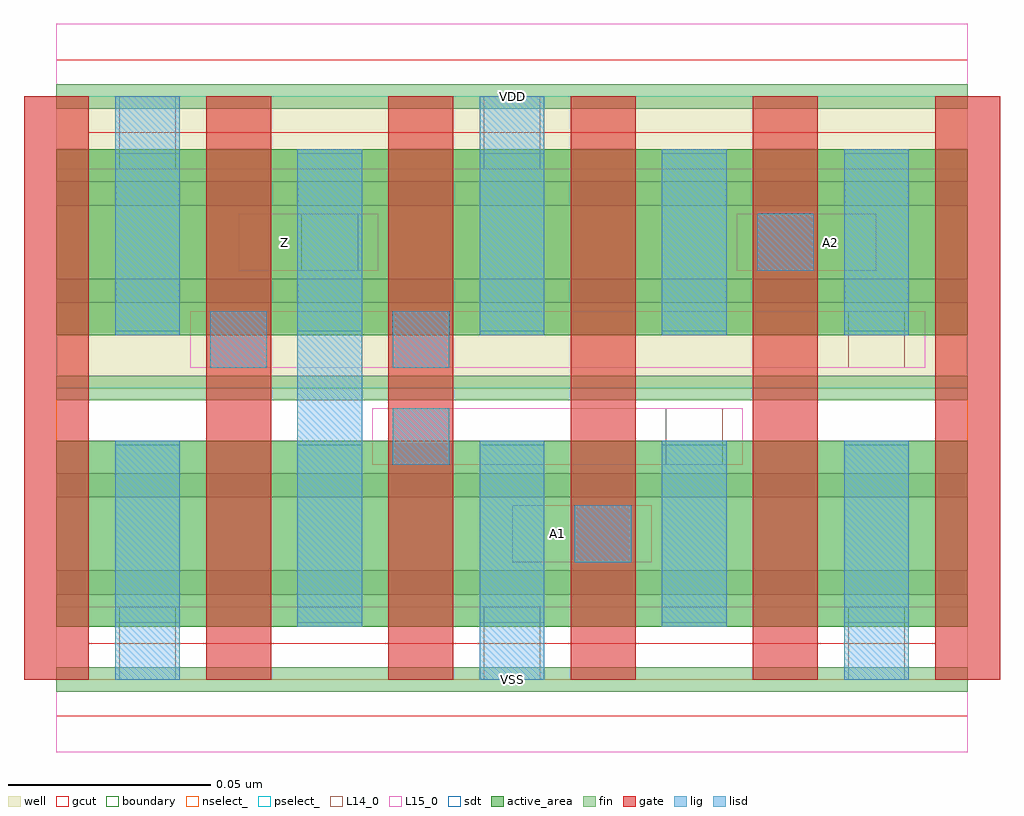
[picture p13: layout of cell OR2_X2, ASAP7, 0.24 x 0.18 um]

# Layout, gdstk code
import gdstk
lib = gdstk.Library(unit=1e-6, precision=2.5e-10)
def R(c, l, rs):  # rectangles x0, y0, x1, y1
    for r in rs: c.add(gdstk.rectangle(r[:2], r[2:], *l))
def A(c, l, x, y, w, h, nx, ny, dx, dy):  # array of equal rectangles
    R(c, l, [(x+i*dx, y+j*dy, x+i*dx+w, y+j*dy+h) for i in range(nx) for j in range(ny)])
def P(c, l, *ps):  # polygons
    for p in ps: c.add(gdstk.Polygon(p, *l))
well = (1, 0)
fin = (2, 0)
gate = (7, 0)
gcut = (10, 0)
active_area = (11, 0)
nselect_ = (12, 0)
pselect_ = (13, 0)
L14_0 = (14, 0)
L15_0 = (15, 0)
lig = (16, 0)
lisd = (17, 0)
sdt = (88, 0)
boundary = (100, 0)

or2_x2 = lib.new_cell('OR2_X2')
R(or2_x2, well, [(0,0.072,0.225,0.144)])
A(or2_x2, fin, 0, -0.003, 0.225, 0.006, 1, 7, 0, 0.024)
A(or2_x2, gate, -0.008, 0, 0.016, 0.144, 6, 1, 0.045, 0)
P(or2_x2, gcut, [(0,-0.009),(0,0),(-0.008,0),(-0.008,0.135),(0.008,0.135),(0.008,0.009),(0.217,0.009),(0.217,0.135),(-0.008,0.135),(-0.008,0.144),(0,0.144),(0,0.153),(0.225,0.153),(0.225,0.144),(0.233,0.144),(0.233,0),(0.225,0),(0.225,-0.009)])
R(or2_x2, active_area, [(0,0.013,0.225,0.059), (0,0.085,0.225,0.131)])
R(or2_x2, nselect_, [(0,0,0.225,0.072)])
R(or2_x2, pselect_, [(0,0.072,0.225,0.144)])
A(or2_x2, L14_0, 0.0155, 0, 0.014, 0.018, 3, 1, 0.09, 0)
R(or2_x2, L14_0, [(0.128,0.029,0.142,0.043), (0.083,0.053,0.097,0.067), (0.1505,0.053,0.1645,0.067), (0.038,0.077,0.052,0.091), (0.083,0.077,0.097,0.091), (0.1955,0.077,0.2095,0.091), (0.0605,0.101,0.0745,0.115), (0.173,0.101,0.187,0.115), (0.0155,0.126,0.0295,0.144), (0.1055,0.126,0.1195,0.144)])
R(or2_x2, L15_0, [(0,-0.018,0.225,0.018), (0.1125,0.029,0.147,0.043), (0.078,0.053,0.1695,0.067), (0.033,0.077,0.2145,0.091), (0.045,0.101,0.0795,0.115), (0.168,0.101,0.2025,0.115), (0,0.126,0.225,0.162)])
R(or2_x2, lig, [(0.128,0.029,0.142,0.043), (0.083,0.053,0.097,0.067), (0.038,0.077,0.052,0.091), (0.083,0.077,0.097,0.091), (0.173,0.101,0.187,0.115)])
A(or2_x2, lisd, 0.0145, 0, 0.016, 0.059, 3, 1, 0.09, 0)
R(or2_x2, lisd, [(0.0595,0.013,0.0755,0.131), (0.1495,0.013,0.1655,0.059), (0.0145,0.085,0.0305,0.144), (0.1045,0.085,0.1205,0.144), (0.1495,0.085,0.1655,0.131), (0.1945,0.085,0.2105,0.131)])
A(or2_x2, sdt, 0.0145, 0.014, 0.016, 0.044, 5, 2, 0.045, 0.072)
R(or2_x2, boundary, [(0,0,0.225,0.144)])
or2_x2.add(gdstk.Label('A2', (0.1913,0.108), layer=15, texttype=251))
or2_x2.add(gdstk.Label('VSS', (0.1125,0), layer=15, texttype=251))
or2_x2.add(gdstk.Label('VDD', (0.1125,0.144), layer=15, texttype=251))
or2_x2.add(gdstk.Label('Z', (0.0563,0.108), layer=15, texttype=251))
or2_x2.add(gdstk.Label('VSS', (0.1125,0), layer=15, texttype=251))
or2_x2.add(gdstk.Label('VDD', (0.1125,0.144), layer=15, texttype=251))
or2_x2.add(gdstk.Label('A1', (0.1238,0.036), layer=15, texttype=251))
or2_x2.add(gdstk.Label('VSS', (0.1125,0), layer=15, texttype=251))
or2_x2.add(gdstk.Label('VDD', (0.1125,0.144), layer=15, texttype=251))
or2_x2.add(gdstk.Label('VSS', (0.1125,0), layer=3, texttype=251))
or2_x2.add(gdstk.Label('VSS', (0.1125,0), layer=3, texttype=251))
or2_x2.add(gdstk.Label('VSS', (0.1125,0), layer=3, texttype=251))
or2_x2.add(gdstk.Label('VDD', (0.1125,0.144), layer=1, texttype=251))
or2_x2.add(gdstk.Label('VDD', (0.1125,0.144), layer=1, texttype=251))
or2_x2.add(gdstk.Label('VDD', (0.1125,0.144), layer=1, texttype=251))

lib.write_gds('OR2_X2.gds')
